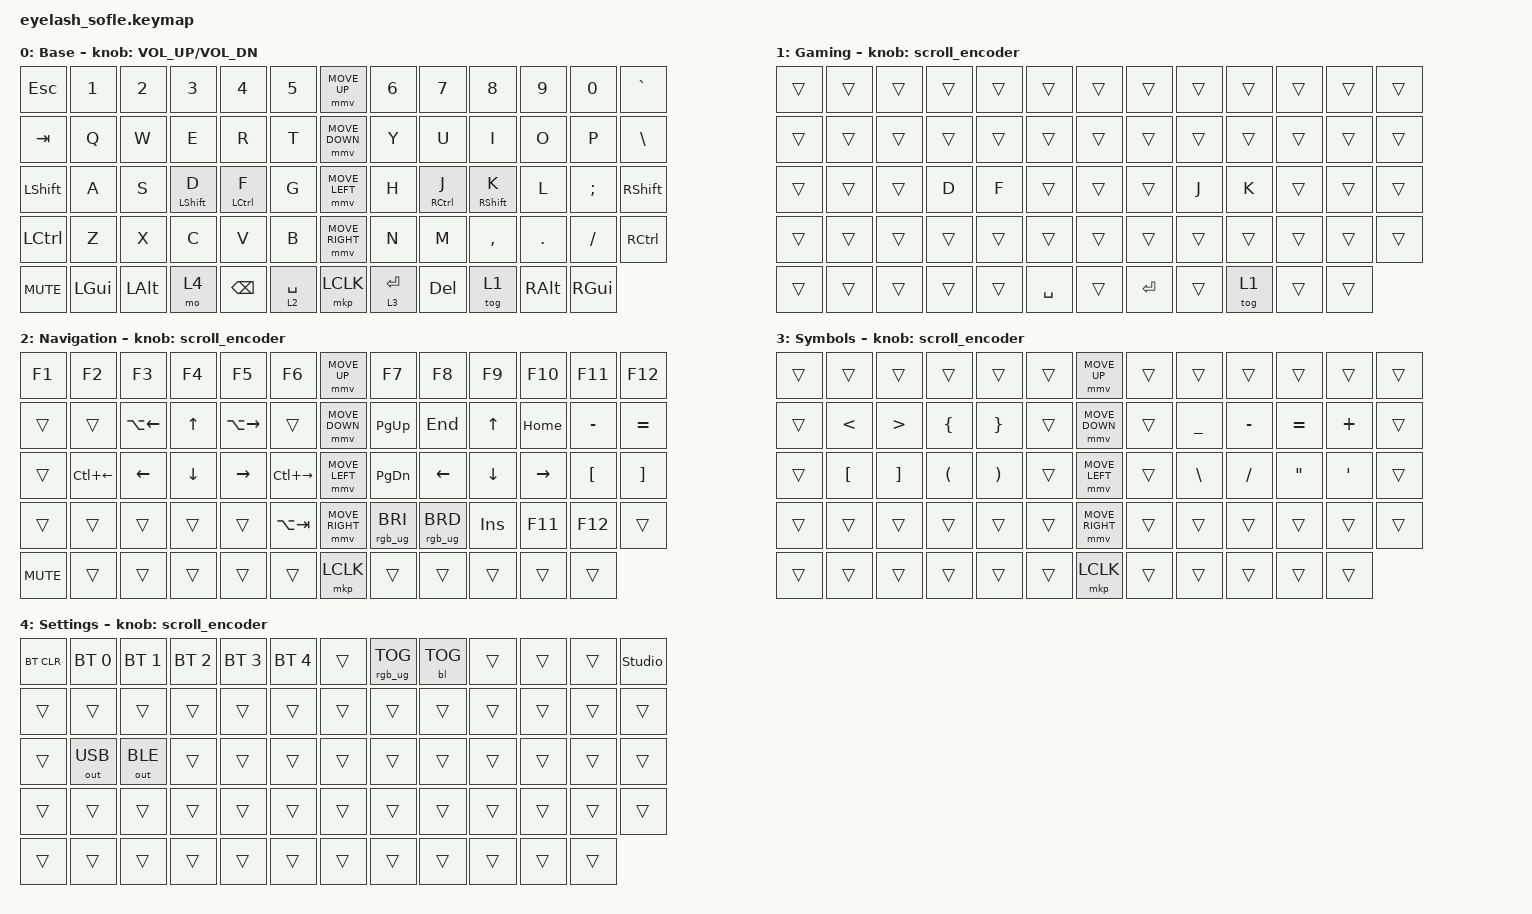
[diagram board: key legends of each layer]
#define ZMK_POINTING_DEFAULT_MOVE_VAL 1200  // 600
#define ZMK_POINTING_DEFAULT_SCRL_VAL 25   // 10

#include <input/processors.dtsi>
#include <zephyr/dt-bindings/input/input-event-codes.h>
#include <behaviors.dtsi>
#include <dt-bindings/zmk/backlight.h>
#include <dt-bindings/zmk/bt.h>
#include <dt-bindings/zmk/keys.h>
#include <dt-bindings/zmk/outputs.h>
#include <dt-bindings/zmk/pointing.h>
#include <dt-bindings/zmk/rgb.h>

&mmv_input_listener { input-processors = <&zip_xy_scaler 2 1>; };

&msc_input_listener { input-processors = <&zip_scroll_scaler 2 1>; };

&msc {
    acceleration-exponent = <1>;      // 0
    time-to-max-speed-ms = <100>;       // 300
    delay-ms = <0>;                   // 0
};

&mmv {
    time-to-max-speed-ms = <500>;
    acceleration-exponent = <1>;
    trigger-period-ms = <16>;
};

&soft_off { hold-time-ms = <2000>; };

&mt {
    flavor = "balanced";
    require-prior-idle-ms = <150>;
    tapping-term-ms = <280>;
    quick-tap-ms = <175>;
    bindings = <&kp>, <&kp>;
    //hold-trigger-key-positions = < ... >; // List of keys on the left side of the keyboard
    hold-trigger-on-release;
};

/ {
    scroll_encoder: scroll_encoder {
        compatible = "zmk,behavior-sensor-rotate";
        #sensor-binding-cells = <0>;
        bindings = <&msc SCRL_DOWN>, <&msc SCRL_UP>;

        tap-ms = <100>;
    };

    behaviors {
    };


    combos { compatible = "zmk,combos"; };

    keymap {
        compatible = "zmk,keymap";

        Base {
            bindings = <
&kp ESC         &kp N1        &kp N2        &kp N3            &kp N4         &kp N5         &mmv MOVE_UP     &kp N6       &kp N7       &kp N8             &kp N9         &kp N0         &kp GRAVE
&kp TAB         &kp Q         &kp W         &kp E             &kp R          &kp T          &mmv MOVE_DOWN   &kp Y        &kp U        &kp I              &kp O          &kp P          &kp BSLH
&kp LEFT_SHIFT  &kp A         &kp S         &mt LEFT_SHIFT D  &mt LCTRL F    &kp G          &mmv MOVE_LEFT   &kp H        &mt RCTRL J  &mt RIGHT_SHIFT K  &kp L          &kp SEMI       &kp RIGHT_SHIFT
&kp LCTRL       &kp Z         &kp X         &kp C             &kp V          &kp B          &mmv MOVE_RIGHT  &kp N        &kp M        &kp COMMA          &kp DOT        &kp FSLH       &kp RCTRL
&kp C_MUTE      &kp LEFT_GUI  &kp LEFT_ALT  &mo 4             &kp BACKSPACE  &lt 2 SPACE    &mkp LCLK        &lt 3 ENTER  &kp DEL      &tog 1             &kp RIGHT_ALT  &kp RIGHT_GUI
            >;

            sensor-bindings = <&inc_dec_kp C_VOLUME_UP C_VOL_DN>;
            display-name = "Base";
            label = "Base";
        };

        Gaming {
            bindings = <
&trans  &trans  &trans  &trans  &trans  &trans       &trans  &trans     &trans  &trans  &trans  &trans  &trans
&trans  &trans  &trans  &trans  &trans  &trans       &trans  &trans     &trans  &trans  &trans  &trans  &trans
&trans  &trans  &trans  &kp D   &kp F   &trans       &trans  &trans     &kp J   &kp K   &trans  &trans  &trans
&trans  &trans  &trans  &trans  &trans  &trans       &trans  &trans     &trans  &trans  &trans  &trans  &trans
&trans  &trans  &trans  &trans  &trans  &kp SPACE    &trans  &kp ENTER  &trans  &tog 1  &trans  &trans
            >;

            display-name = "Gaming";
            sensor-bindings = <&scroll_encoder>;
            label = "Gaming";
        };

        Navigation {
            bindings = <
&kp F1      &kp F2        &kp F3        &kp F4        &kp F5         &kp F6           &mmv MOVE_UP     &kp F7           &kp F8           &kp F9      &kp F10    &kp F11           &kp F12
&trans      &trans        &kp LA(LEFT)  &kp UP_ARROW  &kp LA(RIGHT)  &trans           &mmv MOVE_DOWN   &kp PG_UP        &kp END          &kp UP      &kp HOME   &kp MINUS         &kp EQUAL
&trans      &kp LC(LEFT)  &kp LEFT      &kp DOWN      &kp RIGHT      &kp LC(RIGHT)    &mmv MOVE_LEFT   &kp PG_DN        &kp LEFT         &kp DOWN    &kp RIGHT  &kp LEFT_BRACKET  &kp RIGHT_BRACKET
&trans      &trans        &trans        &trans        &trans         &kp LA(TAB)      &mmv MOVE_RIGHT  &rgb_ug RGB_BRI  &rgb_ug RGB_BRD  &kp INSERT  &kp F11    &kp F12           &trans
&kp C_MUTE  &trans        &trans        &trans        &trans         &trans           &mkp LCLK        &trans           &trans           &trans      &trans     &trans
            >;

            display-name = "Navigation";
            sensor-bindings = <&scroll_encoder>;
            label = "Navigation";
        };

        Symbols {
            bindings = <
&trans  &trans         &trans            &trans                &trans                 &trans    &mmv MOVE_UP     &trans  &trans          &trans     &trans             &trans    &trans
&trans  &kp LESS_THAN  &kp GREATER_THAN  &kp LEFT_BRACE        &kp RIGHT_BRACE        &trans    &mmv MOVE_DOWN   &trans  &kp UNDERSCORE  &kp MINUS  &kp EQUAL          &kp PLUS  &trans
&trans  &kp LBKT       &kp RBKT          &kp LEFT_PARENTHESIS  &kp RIGHT_PARENTHESIS  &trans    &mmv MOVE_LEFT   &trans  &kp BSLH        &kp FSLH   &kp DOUBLE_QUOTES  &kp APOS  &trans
&trans  &trans         &trans            &trans                &trans                 &trans    &mmv MOVE_RIGHT  &trans  &trans          &trans     &trans             &trans    &trans
&trans  &trans         &trans            &trans                &trans                 &trans    &mkp LCLK        &trans  &trans          &trans     &trans             &trans
            >;

            display-name = "Symbols";
            sensor-bindings = <&scroll_encoder>;
            label = "Symbols";
        };

        Settings {
            bindings = <
&bt BT_CLR  &bt BT_SEL 0  &bt BT_SEL 1  &bt BT_SEL 2  &bt BT_SEL 3  &bt BT_SEL 4    &trans  &rgb_ug RGB_TOG  &bl BL_TOG  &trans  &trans  &trans  &studio_unlock
&trans      &trans        &trans        &trans        &trans        &trans          &trans  &trans           &trans      &trans  &trans  &trans  &trans
&trans      &out OUT_USB  &out OUT_BLE  &trans        &trans        &trans          &trans  &trans           &trans      &trans  &trans  &trans  &trans
&trans      &trans        &trans        &trans        &trans        &trans          &trans  &trans           &trans      &trans  &trans  &trans  &trans
&trans      &trans        &trans        &trans        &trans        &trans          &trans  &trans           &trans      &trans  &trans  &trans
            >;

            display-name = "Settings";
            sensor-bindings = <&scroll_encoder>;
            label = "Settings";
        };
    };
};
